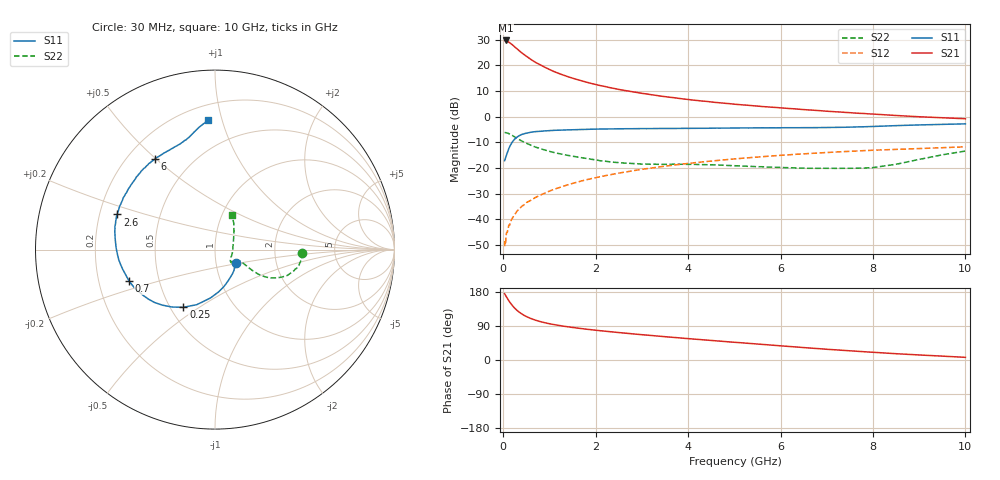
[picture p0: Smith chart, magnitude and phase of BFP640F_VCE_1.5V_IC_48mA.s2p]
! Infineon Technologies  Discrete & RF Semiconductors
! BFP640F
! VCE =  1.5 V,  IC =  48 mA
! Common Emitter S-Parameters:  Apr 2013
# GHz  S  MA  R  50
!  f  S11  S21  S12  S22
! GHz  MAG  ANG  MAG  ANG  MAG  ANG  MAG  ANG
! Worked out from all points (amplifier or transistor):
!   99 points, 30 MHz to 10 GHz, reference 50 ohm
!   highest |S21| = 29.6 dB at 50 MHz (marker M1)
!   |S21| within 3 dB of that: start of sweep to 281.8 MHz
!   unconditionally stable (mu >= 1): start of sweep to end of sweep
!   at 350 MHz: K = 1.18, MAG = 28.2 dB, |S12| = -35.9 dB
!   at 3.5 GHz: K = 1.29, MAG = 10.3 dB, |S12| = -19.3 dB
!   at 10 GHz: K = 1.19, MAG = 2.8 dB, |S12| = -11.8 dB
!   S11 on the Smith chart (normalised r, x): 30 MHz: 1.25, -0.18; 250 MHz: 0.58, -0.43; 700 MHz: 0.33, -0.16; 2.6 GHz: 0.27, +0.16; 6 GHz: 0.31, +0.50; 10 GHz: 0.30, +0.90
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0.03  0.1385 -31.3  30.09 174.9  0.003 47.8  0.4869 -2.0
0.04  0.145 -40.3  29.82 172.9  0.0037 44.0  0.4886 -3.6
0.05  0.1568 -47.6  30.32 170.9  0.0033 35.6  0.4865 -5.0
0.07  0.1771 -61.3  29.62 166.4  0.0054 57.1  0.4821 -7.3
0.11  0.2236 -81.1  28.56 158.5  0.0067 60.6  0.47 -11.8
0.15  0.2712 -95.5  26.91 151.3  0.0089 62.7  0.451 -15.7
0.2  0.3231 -108.3  24.93 143.3  0.0106 63.6  0.4277 -19.7
0.25  0.3664 -118.7  22.69 136.6  0.0124 65.4  0.401 -22.5
0.35  0.4262 -133.4  19 125.9  0.016 65.2  0.3542 -26.5
0.45  0.4628 -143.5  16.14 117.9  0.0192 65.6  0.3183 -28.5
0.6  0.4962 -154.3  12.92 109.4  0.0235 65.5  0.2766 -29.6
0.7  0.5096 -159.8  11.33 105.0  0.0267 66.1  0.2544 -29.3
0.9  0.5257 -167.9  9.12 98.4  0.0323 67.5  0.2232 -28.6
1.1  0.5394 -174.1  7.511 93.4  0.0384 67.8  0.1994 -27.3
1.7  0.5606 173.1  4.957 82.8  0.056 67.2  0.1578 -24.6
2.6  0.5791 160.2  3.259 71.3  0.0821 64.1  0.1248 -29.1
3.4  0.587 150.5  2.507 62.6  0.1053 60.0  0.1172 -35.5
5.1  0.6001 132.3  1.713 45.9  0.1523 50.2  0.1098 -37.8
6  0.6055 123.5  1.479 37.4  0.1761 44.5  0.1023 -32.5
6.7  0.6093 115.9  1.332 31.0  0.1926 39.9  0.0985 -24.5
8.5  0.6664 99.9  1.05 16.6  0.2298 28.8  0.1179 28.7
10  0.7214 92.9  0.907 7.0  0.2578 21.0  0.2132 63.4
